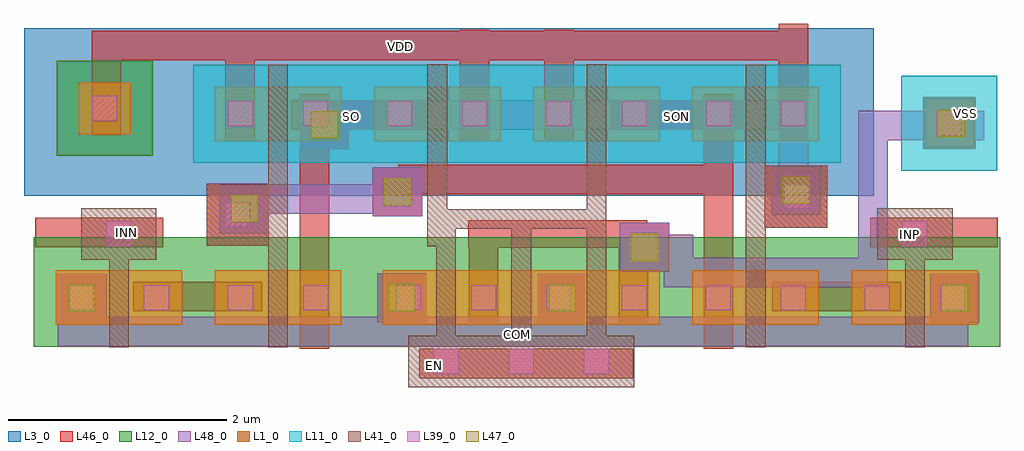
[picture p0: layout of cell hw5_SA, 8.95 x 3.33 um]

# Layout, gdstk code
from math import pi, radians
import gdstk
lib = gdstk.Library(unit=1e-6, precision=1e-09)
def R(c, l, rs):  # rectangles x0, y0, x1, y1
    for r in rs: c.add(gdstk.rectangle(r[:2], r[2:], *l))
L1_0 = (1, 0)
L3_0 = (3, 0)
L11_0 = (11, 0)
L12_0 = (12, 0)
L39_0 = (39, 0)
L41_0 = (41, 0)
L46_0 = (46, 0)
L47_0 = (47, 0)
L48_0 = (48, 0)

cont = lib.new_cell('CONT')
R(cont, L39_0, [(-0.12,-0.12,0.11,0.11)])
R(cont, L41_0, [(-0.29,-0.29,0.28,0.28)])
R(cont, L46_0, [(-0.29,-0.29,0.28,0.28)])

via = lib.new_cell('VIA')
R(via, L46_0, [(-0.23,-0.24,0.22,0.21)])
R(via, L47_0, [(-0.13,-0.14,0.12,0.11)])
R(via, L48_0, [(-0.23,-0.24,0.22,0.21)])

mos_unit2 = lib.new_cell('mos_unit2')
R(mos_unit2, L1_0, [(-0.605,-0.23,0.555,0.27)])
R(mos_unit2, L39_0, [(-0.485,-0.095,-0.255,0.135), (0.205,-0.095,0.435,0.135)])
R(mos_unit2, L41_0, [(-0.115,-0.435,0.065,0.47)])

body = lib.new_cell('Body')
R(body, L1_0, [(-2.115,-0.39,-1.635,0.08)])
R(body, L39_0, [(-1.99,-0.27,-1.76,-0.04)])

mos_unit = lib.new_cell('mos_unit')
R(mos_unit, L1_0, [(-0.605,-0.23,0.555,0.27)])
R(mos_unit, L39_0, [(-0.485,-0.095,-0.255,0.135), (0.205,-0.095,0.435,0.135), (-0.14,0.49,0.09,0.72)])
R(mos_unit, L41_0, [(-0.115,-0.435,0.065,0.47), (-0.37,0.37,0.32,0.84)])

hw5_sa = lib.new_cell('hw5_SA')
R(hw5_sa, L3_0, [(-1.085,0.225,6.705,1.76)])
R(hw5_sa, L11_0, [(6.96,0.455,7.84,1.325), (0.465,0.525,6.405,1.425)])
R(hw5_sa, L12_0, [(-0.995,-1.161,7.865,-0.156), (-0.785,0.59,0.095,1.46)])
R(hw5_sa, L46_0, [(2.995,-0.935,3.265,-0.09)])
hw5_sa.add(gdstk.FlexPath([(2.705,-0.24),(2.705,0.095)], 0.18, ends="flush", simple_path=True, layer=41, datatype=0))  # L41_0
hw5_sa.add(gdstk.FlexPath([(4.165,0.005),(4.165,1.325)], 0.18, ends="flush", simple_path=True, layer=41, datatype=0))  # L41_0
hw5_sa.add(gdstk.FlexPath([(2.705,0.005),(2.705,1.325)], 0.18, ends="flush", simple_path=True, layer=41, datatype=0))  # L41_0
hw5_sa.add(gdstk.FlexPath([(2.87,0.01),(4.25,0.01)], 0.18, ends="flush", simple_path=True, layer=41, datatype=0))  # L41_0
hw5_sa.add(gdstk.FlexPath([(3.475,-0.4),(3.475,0.1)], 0.18, ends="flush", simple_path=True, layer=41, datatype=0))  # L41_0
hw5_sa.add(gdstk.FlexPath([(4.165,-0.53),(4.165,0.275)], 0.18, ends="flush", simple_path=True, layer=41, datatype=0))  # L41_0
hw5_sa.add(gdstk.FlexPath([(1.245,-0.66),(1.245,0.66)], 0.18, ends="flush", simple_path=True, layer=41, datatype=0))  # L41_0
hw5_sa.add(gdstk.FlexPath([(2.615,0.01),(3.065,0.01)], 0.18, ends="flush", simple_path=True, layer=41, datatype=0))  # L41_0
hw5_sa.add(gdstk.FlexPath([(2.785,-0.375),(2.785,0.09)], 0.18, ends="flush", simple_path=True, layer=41, datatype=0))  # L41_0
hw5_sa.add(gdstk.FlexPath([(5.625,-0.545),(5.625,0.775)], 0.18, ends="flush", simple_path=True, layer=41, datatype=0))  # L41_0
hw5_sa.add(gdstk.FlexPath([(3.82,0.749),(3.82,1.744)], 0.27, ends="flush", simple_path=True, layer=46, datatype=0))  # L46_0
hw5_sa.add(gdstk.FlexPath([(5.97,0.805),(5.97,1.8)], 0.27, ends="flush", simple_path=True, layer=46, datatype=0))  # L46_0
hw5_sa.add(gdstk.FlexPath([(3.045,0.749),(3.045,1.744)], 0.27, ends="flush", simple_path=True, layer=46, datatype=0))  # L46_0
hw5_sa.add(gdstk.FlexPath([(0.895,0.725),(0.895,1.72)], 0.27, ends="flush", simple_path=True, layer=46, datatype=0))  # L46_0
hw5_sa.add(gdstk.FlexPath([(5.97,0.74),(5.97,0.96)], 0.27, ends="flush", simple_path=True, layer=46, datatype=0))  # L46_0
hw5_sa.add(gdstk.FlexPath([(-0.98,-0.115),(0.19,-0.115)], 0.27, ends="flush", simple_path=True, layer=46, datatype=0))  # L46_0
hw5_sa.add(gdstk.FlexPath([(6.675,-0.115),(7.845,-0.115)], 0.27, ends="flush", simple_path=True, layer=46, datatype=0))  # L46_0
hw5_sa.add(gdstk.FlexPath([(2.54,-1.316),(4.5,-1.316)], 0.27, ends="flush", simple_path=True, layer=46, datatype=0))  # L46_0
hw5_sa.add(gdstk.FlexPath([(5.775,-0.7),(6.96,-0.7)], 0.27, ends="flush", simple_path=True, layer=46, datatype=0))  # L46_0
hw5_sa.add(gdstk.FlexPath([(-0.085,-0.7),(1.1,-0.7)], 0.27, ends="flush", simple_path=True, layer=46, datatype=0))  # L46_0
hw5_sa.add(gdstk.FlexPath([(2.345,0.374),(5.29,0.374)], 0.27, ends="flush", simple_path=True, layer=46, datatype=0))  # L46_0
hw5_sa.add(gdstk.FlexPath([(1.58,-1.18),(1.58,1.155)], 0.27, ends="flush", simple_path=True, layer=46, datatype=0))  # L46_0
hw5_sa.add(gdstk.FlexPath([(5.285,-1.18),(5.285,1.155)], 0.27, ends="flush", simple_path=True, layer=46, datatype=0))  # L46_0
hw5_sa.add(gdstk.FlexPath([(6.1,1.6),(-0.33,1.6),(-0.33,0.78)], 0.27, ends="flush", simple_path=True, layer=46, datatype=0))  # L46_0
hw5_sa.add(gdstk.FlexPath([(4.505,-0.935),(4.505,-0.035)], 0.27, ends="flush", simple_path=True, layer=46, datatype=0))  # L46_0
hw5_sa.add(gdstk.FlexPath([(1.365,0.965),(2.605,0.965)], 0.27, ends="flush", simple_path=True, layer=46, datatype=0))  # L46_0
hw5_sa.add(gdstk.FlexPath([(2.99,-0.126),(4.63,-0.126)], 0.25, ends="flush", simple_path=True, layer=46, datatype=0))  # L46_0
hw5_sa.add(gdstk.FlexPath([(4.29,0.965),(5.53,0.965)], 0.27, ends="flush", simple_path=True, layer=46, datatype=0))  # L46_0
hw5_sa.add(gdstk.FlexPath([(4.62,-0.27),(4.915,-0.27),(4.915,-0.48),(6.7,-0.48),(6.7,1.005)], 0.27, ends="flush", simple_path=True, layer=48, datatype=0))  # L48_0
hw5_sa.add(gdstk.FlexPath([(7.44,-0.59),(7.44,-1.02),(-0.775,-1.02)], 0.27, ends="flush", simple_path=True, layer=48, datatype=0))  # L48_0
hw5_sa.add(gdstk.FlexPath([(1.44,0.965),(5.97,0.965),(5.97,0.465)], 0.27, ends="flush", simple_path=True, layer=48, datatype=0))  # L48_0
hw5_sa.add(gdstk.FlexPath([(6.565,0.87),(7.72,0.87)], 0.27, ends="flush", simple_path=True, layer=48, datatype=0))  # L48_0
hw5_sa.add(gdstk.FlexPath([(1.15,0.195),(2.12,0.195)], 0.27, ends="flush", simple_path=True, layer=48, datatype=0))  # L48_0
hw5_sa.add(gdstk.Reference(cont, (6,0.22)))
hw5_sa.add(gdstk.Reference(cont, (0.88,0.055)))
hw5_sa.add(gdstk.Reference(via, (3.855,-0.701)))
hw5_sa.add(gdstk.Reference(via, (7.42,0.9)))
hw5_sa.add(gdstk.Reference(via, (2.385,-0.695)))
hw5_sa.add(gdstk.Reference(via, (2.345,0.275)))
hw5_sa.add(gdstk.Reference(via, (7.455,-0.7)))
hw5_sa.add(gdstk.Reference(via, (-0.545,-0.7)))
hw5_sa.add(gdstk.Reference(via, (1.675,0.89)))
hw5_sa.add(gdstk.Reference(via, (0.94,0.12)))
hw5_sa.add(gdstk.Reference(via, (4.61,-0.235)))
hw5_sa.add(gdstk.Reference(via, (6,0.29)))
hw5_sa.add(gdstk.Reference(mos_unit2, (1.27,0.955)))
hw5_sa.add(gdstk.Reference(mos_unit2, (1.27,-0.731)))
hw5_sa.add(gdstk.Reference(mos_unit2, (5.65,-0.731)))
hw5_sa.add(gdstk.Reference(mos_unit2, (5.65,0.955)))
hw5_sa.add(gdstk.Reference(mos_unit2, (4.14,0.995), rotation=pi))
hw5_sa.add(gdstk.Reference(mos_unit2, (2.68,0.995), rotation=pi))
r = gdstk.Reference(body, (1.53,1.18)); r.repetition = gdstk.Repetition(1, 1, v1=(0.48,0), v2=(0,0.47)); hw5_sa.add(r)
r = gdstk.Reference(body, (9.275,1.045)); r.repetition = gdstk.Repetition(1, 1, v1=(0.48,0), v2=(0,0.47)); hw5_sa.add(r)
r = gdstk.Reference(mos_unit, (4.14,-0.691), rotation=pi); r.repetition = gdstk.Repetition(3, 1, v1=(-0.69,0), v2=(0,-1.525)); hw5_sa.add(r)
hw5_sa.add(gdstk.Reference(mos_unit, (-0.19,-0.731)))
hw5_sa.add(gdstk.Reference(mos_unit, (7.11,-0.731)))
hw5_sa.add(gdstk.Label('EN', (2.675,-1.335), layer=101, texttype=0))
hw5_sa.add(gdstk.Label('SO', (1.915,0.95), layer=101, texttype=0))
hw5_sa.add(gdstk.Label('SON', (4.895,0.95), layer=101, texttype=0))
hw5_sa.add(gdstk.Label('VSS', (7.545,0.975), layer=101, texttype=0))
hw5_sa.add(gdstk.Label('VDD', (2.37,1.59), layer=101, texttype=0))
hw5_sa.add(gdstk.Label('INP', (7.035,-0.13), layer=101, texttype=0))
hw5_sa.add(gdstk.Label('INN', (-0.145,-0.11), layer=101, texttype=0))
hw5_sa.add(gdstk.Label('COM', (3.445,-1.045), layer=102, texttype=0))

lib.write_gds('hw5_SA.gds')
